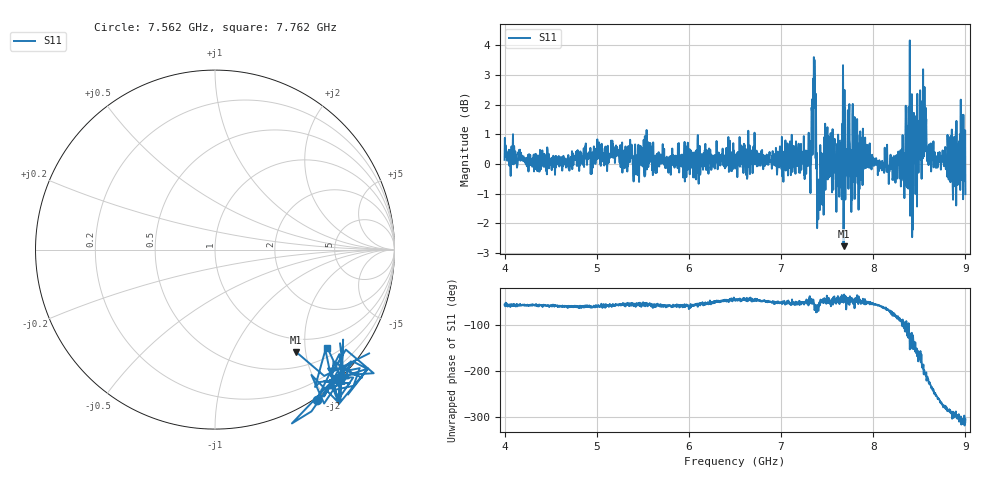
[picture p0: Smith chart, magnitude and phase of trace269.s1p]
! Created with skrf 1.8.0 (http://scikit-rf.org).
# Hz S RI R 50.0
!freq ReS11 ImS11
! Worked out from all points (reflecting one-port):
!   1601 points, 4 GHz to 9 GHz, reference 50 ohm
!   lowest |S11| = -2.8 dB at 7.678 GHz (marker M1), VSWR 6.33, Z = 37.7 - j91.1 ohm
!   phase of S11 starts at -56 deg and turns -249 deg over the sweep
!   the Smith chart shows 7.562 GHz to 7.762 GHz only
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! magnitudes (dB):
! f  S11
! 4 GHz  0.1
! 4.625 GHz  -0.2
! 5.25 GHz  0.0
! 5.875 GHz  0.0
! 6.5 GHz  0.1
! 7.125 GHz  0.2
! 7.3 GHz  1.1
! 7.356 GHz  3.6
! 7.397 GHz  -1.3
! 7.409 GHz  -1.2
! 7.491 GHz  -0.5
! 7.619 GHz  1.0
! 7.678 GHz  -2.8
! 7.75 GHz  -0.3
! 7.775 GHz  1.6
! 7.8 GHz  -1.2
! 7.891 GHz  0.3
! 8.316 GHz  -0.1
! 8.375 GHz  -0.6
! 8.447 GHz  1.5
! 8.459 GHz  -1.0
! 8.556 GHz  2.6
! 8.606 GHz  0.0
! 8.681 GHz  -0.1
! 8.841 GHz  0.9
! 8.956 GHz  -0.5
! 8.972 GHz  0.3
! 9 GHz  -1.0
